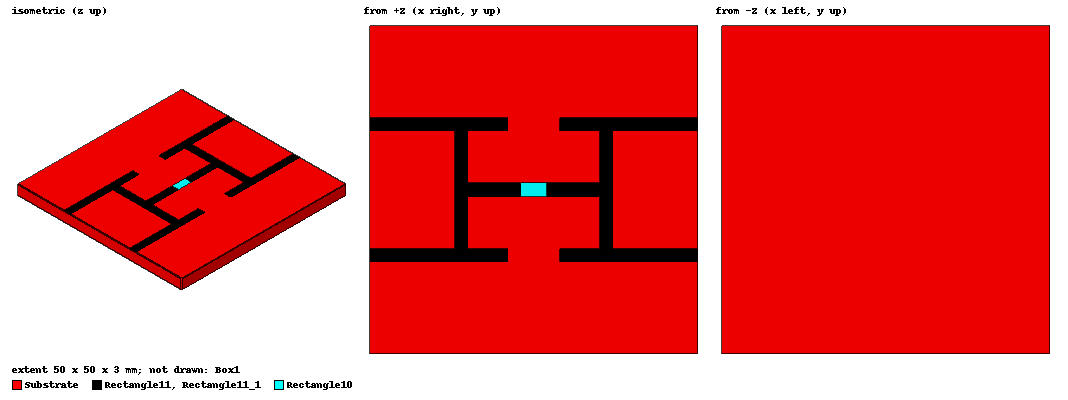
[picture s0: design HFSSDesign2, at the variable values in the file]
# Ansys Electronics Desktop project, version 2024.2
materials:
  vacuum: permittivity=1
  Felt: permittivity=1.4 permeability=0.01
  copper: permeability=0.999991 conductivity=58000000
  felt2: permittivity=1.63 dielectric_loss_tangent=0.044

design HFSSDesign2 (HFSS, HFSS Terminal Network, model units mm)
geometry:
  Substrate [felt2] = box(corner=(0mm, 0mm, 0mm), size=(50mm, 50mm, 3mm))
  Rectangle10 = rectangle(corner=(23mm, 24mm, 3mm), x_size=4mm, y_size=2mm)
  Box1 [vacuum] = box(corner=(-80mm, -100mm, -80mm), size=(222mm, 222mm, 175mm))
  Rectangle11 = rectangle(corner=(27mm, 26mm, 3mm), x_size=10mm, y_size=-2mm)
  Rectangle13 = rectangle(corner=(37mm, 26mm, 3mm), x_size=-2mm, y_size=10mm)
  Rectangle14 = rectangle(corner=(37mm, 24mm, 3mm), x_size=-2mm, y_size=-10mm)
  Rectangle15 = rectangle(corner=(37mm, 36mm, 3mm), x_size=13mm, y_size=-2mm)
  Rectangle16 = rectangle(corner=(37mm, 14mm, 3mm), x_size=13mm, y_size=2mm)
  Rectangle17 = rectangle(corner=(35mm, 36mm, 3mm), x_size=-6mm, y_size=-2mm)
  Rectangle18 = rectangle(corner=(35mm, 14mm, 3mm), x_size=-6mm, y_size=2mm)
  Rectangle11.unite(Rectangle15, Rectangle13, Rectangle17, Rectangle18, Rectangle14, Rectangle16)
  Rectangle11_1 = Rectangle11.duplicate_mirror(point=(25mm, 26mm, 3mm), normal=(1mm, 0mm, 0mm))
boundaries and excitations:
  Rad1: Radiation Objects=Box1
  FiniteCond1: Finite Conductivity Objects=Rectangle11 Conductivity=58000000 Permeability=1 IsInternal
  FiniteCond2: Finite Conductivity Objects=Rectangle11_1 Conductivity=58000000 Permeability=1 IsInternal
  1: Lumped Port Objects=Rectangle10 LumpedPortType=Modal Modes{Mode1{IntLine{(27, 25, 3) -> (23, 25, 3)} CharImp=Zpi}} Impedance="30 - 1i*185"
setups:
  Setup1: HfssDriven Frequency=870MHz MaxDeltaS=0.02 MaximumPasses=6 MinimumPasses=1 MinimumConvergedPasses=1 PercentRefinement=30 BasisOrder=1 PortAccuracy=2 DrivenSolverType="Direct Solver"
    sweep Sweep: 200MHz to 1.2GHz step 5MHz; Type=Interpolating InterpTolerance=0.5 InterpMaxSolns=250 PassivityErrorTolerance=0.0001
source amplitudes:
  1:1: 1V 0deg
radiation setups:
  Infinite Sphere1: Infinite Sphere Theta=0deg..180deg step 2deg Phi=0deg..360deg step 2deg
  Infinite Sphere2: Infinite Sphere Theta=0deg..180deg step 2deg Phi=-180deg..180deg step 2deg
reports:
  rE Plot 1: dB(rETotal) vs Phi, Theta on Setup1 : LastAdaptive, Infinite Sphere1 [Freq=0.87GHz]
  S Parameter Plot 1: dB(S(1,1)) vs Freq on Setup1 : Sweep; markers m2 at 0.87GHz, m3 at 0.56GHz, m4 at 1.15GHz
  Gain Plot 2: dB(GainTotal) vs Phi, Theta on Setup1 : LastAdaptive, Infinite Sphere1 [Freq=0.87GHz]
